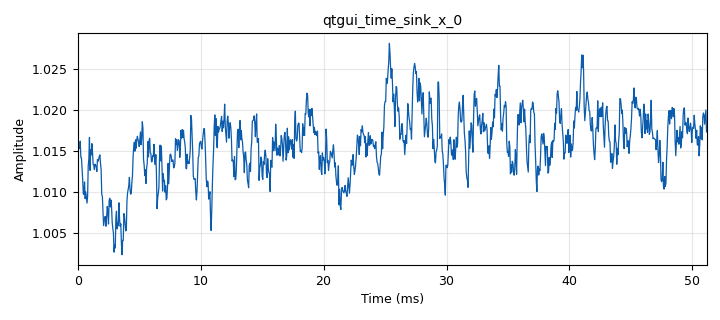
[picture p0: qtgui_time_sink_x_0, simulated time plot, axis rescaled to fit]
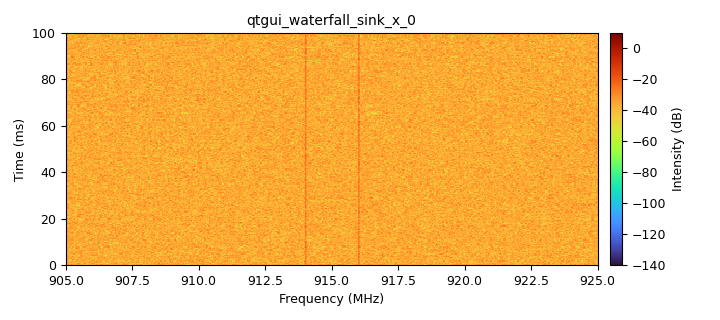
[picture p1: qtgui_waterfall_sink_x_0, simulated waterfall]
options:
  parameters:
    author: ucanlab
    generate_options: qt_gui
    id: Video1
    output_language: python
    title: 'Intro into SDR: USRP'
  states: {}

blocks:
- name: Decimation
  id: variable
  parameters:
    value: '1000'
  states: {}
- name: amplitude
  id: variable
  parameters:
    value: '0.25'
  states: {}
- name: interp
  id: variable
  parameters:
    value: '20'
  states: {}
- name: samp_rate
  id: variable
  parameters:
    value: '20000000'
  states: {}
- name: analog_const_source_x_0
  id: analog_const_source_x
  parameters:
    const: '0'
    type: float
  states: {}
- name: analog_noise_source_x_0
  id: analog_noise_source_x
  parameters:
    amp: '1'
    noise_type: analog.GR_GAUSSIAN
    seed: '0'
    type: complex
  states: {}
- name: analog_sig_source_x_1
  id: analog_sig_source_x
  parameters:
    amp: amplitude
    freq: '1000000'
    offset: '0'
    phase: '0'
    samp_rate: samp_rate
    type: float
    waveform: analog.GR_COS_WAVE
  states: {}
- name: blocks_add_xx_0
  id: blocks_add_xx
  parameters:
    type: complex
  states: {}
- name: blocks_float_to_complex_0
  id: blocks_float_to_complex
  parameters: {}
  states: {}
- name: blocks_rms_xx_0
  id: blocks_rms_xx
  parameters:
    alpha: '0.0001'
    type: complex
  states: {}
- name: fir_filter_xxx_0
  id: fir_filter_xxx
  parameters:
    decim: Decimation
    taps: '1'
    type: fff
  states: {}
- name: note_1
  id: note
  parameters:
    note: Real Sinusoid
  states: {}
- name: note_1_0
  id: note
  parameters:
    note: Transmitter
  states: {}
- name: note_1_0_0
  id: note
  parameters:
    note: Receiver
  states: {}
- name: qtgui_time_sink_x_0
  id: qtgui_time_sink_x
  parameters:
    size: '1024'
    srate: samp_rate/Decimation
    type: float
    ymax: '0.007'
    ymin: '0'
  states: {}
- name: qtgui_waterfall_sink_x_0
  id: qtgui_waterfall_sink_x
  parameters:
    bw: samp_rate
    fc: '915000000'
    fftsize: '1024'
    type: complex
  states: {}
- name: uhd_usrp_sink_0
  id: uhd_usrp_sink
  parameters:
    ant0: TX/RX
    center_freq0: '915000000'
    dev_addr: '"serial=3279417"'
    dev_args: '""'
    gain0: '35'
    len_tag_name: ''
    samp_rate: samp_rate
    sync: sync
    type: fc32
  states: {state: disabled}
- name: uhd_usrp_source_1
  id: uhd_usrp_source
  parameters:
    ant0: RX2
    center_freq0: '915000000'
    dev_addr: '"serial=3279500"'
    dev_args: '""'
    gain0: '40'
    samp_rate: samp_rate
    sync: none
    type: fc32
  states: {state: disabled}
- name: xmlrpc_server_0
  id: xmlrpc_server
  parameters:
    addr: localhost
    port: '8080'
  states: {}
- name: zeromq_pub_sink_0
  id: zeromq_pub_sink
  parameters:
    address: tcp://127.0.0.1:55555
    timeout: '100'
    type: float
  states: {}

connections:
- [analog_const_source_x_0, '0', blocks_float_to_complex_0, '1']
- [analog_noise_source_x_0, '0', blocks_add_xx_0, '1']
- [analog_sig_source_x_1, '0', blocks_float_to_complex_0, '0']
- [blocks_add_xx_0, '0', blocks_rms_xx_0, '0']
- [blocks_add_xx_0, '0', qtgui_waterfall_sink_x_0, '0']
- [blocks_float_to_complex_0, '0', blocks_add_xx_0, '0']
- [blocks_float_to_complex_0, '0', uhd_usrp_sink_0, '0']
- [blocks_rms_xx_0, '0', fir_filter_xxx_0, '0']
- [fir_filter_xxx_0, '0', qtgui_time_sink_x_0, '0']
- [fir_filter_xxx_0, '0', zeromq_pub_sink_0, '0']
- [uhd_usrp_source_1, '0', blocks_rms_xx_0, '0']
- [uhd_usrp_source_1, '0', qtgui_waterfall_sink_x_0, '0']

metadata:
  file_format: 1
  grc_version: 3.10.4.0
